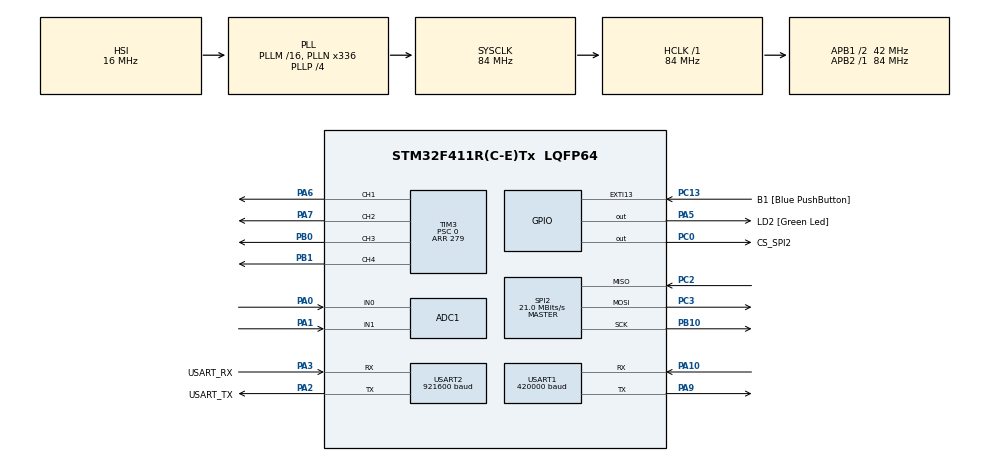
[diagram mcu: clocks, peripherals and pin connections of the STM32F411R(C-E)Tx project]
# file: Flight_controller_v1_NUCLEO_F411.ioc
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ADC1.Channel-10\#ChannelRegularConversion=ADC_CHANNEL_0
ADC1.Channel-12\#ChannelRegularConversion=ADC_CHANNEL_1
ADC1.ContinuousConvMode=ENABLE
ADC1.DMAContinuousRequests=ENABLE
ADC1.NbrOfConversion=2
ADC1.NbrOfConversionFlag=1
ADC1.Rank-10\#ChannelRegularConversion=1
ADC1.Rank-12\#ChannelRegularConversion=2
ADC1.SamplingTime-10\#ChannelRegularConversion=ADC_SAMPLETIME_480CYCLES
ADC1.SamplingTime-12\#ChannelRegularConversion=ADC_SAMPLETIME_480CYCLES
ADC1.master=1
Dma.ADC1.4.Direction=DMA_PERIPH_TO_MEMORY
Dma.ADC1.4.FIFOMode=DMA_FIFOMODE_DISABLE
Dma.ADC1.4.Instance=DMA2_Stream0
Dma.ADC1.4.MemDataAlignment=DMA_MDATAALIGN_HALFWORD
Dma.ADC1.4.MemInc=DMA_MINC_ENABLE
Dma.ADC1.4.Mode=DMA_CIRCULAR
Dma.ADC1.4.PeriphDataAlignment=DMA_PDATAALIGN_HALFWORD
Dma.ADC1.4.PeriphInc=DMA_PINC_DISABLE
Dma.ADC1.4.Priority=DMA_PRIORITY_LOW
Dma.Request0=USART2_RX
Dma.Request1=USART1_RX
Dma.Request2=SPI2_RX
Dma.Request3=TIM3_CH4/UP
Dma.Request4=ADC1
Dma.SPI2_RX.2.Direction=DMA_PERIPH_TO_MEMORY
Dma.SPI2_RX.2.FIFOMode=DMA_FIFOMODE_DISABLE
Dma.SPI2_RX.2.Instance=DMA1_Stream3
Dma.SPI2_RX.2.MemDataAlignment=DMA_MDATAALIGN_BYTE
Dma.SPI2_RX.2.MemInc=DMA_MINC_ENABLE
Dma.SPI2_RX.2.Mode=DMA_NORMAL
Dma.SPI2_RX.2.PeriphDataAlignment=DMA_PDATAALIGN_BYTE
Dma.SPI2_RX.2.PeriphInc=DMA_PINC_DISABLE
Dma.SPI2_RX.2.Priority=DMA_PRIORITY_LOW
Dma.TIM3_CH4/UP.3.Direction=DMA_MEMORY_TO_PERIPH
Dma.TIM3_CH4/UP.3.FIFOMode=DMA_FIFOMODE_DISABLE
Dma.TIM3_CH4/UP.3.Instance=DMA1_Stream2
Dma.TIM3_CH4/UP.3.MemDataAlignment=DMA_MDATAALIGN_WORD
Dma.TIM3_CH4/UP.3.MemInc=DMA_MINC_ENABLE
Dma.TIM3_CH4/UP.3.Mode=DMA_NORMAL
Dma.TIM3_CH4/UP.3.PeriphDataAlignment=DMA_PDATAALIGN_WORD
Dma.TIM3_CH4/UP.3.PeriphInc=DMA_PINC_DISABLE
Dma.TIM3_CH4/UP.3.Priority=DMA_PRIORITY_VERY_HIGH
Dma.USART1_RX.1.Direction=DMA_PERIPH_TO_MEMORY
Dma.USART1_RX.1.FIFOMode=DMA_FIFOMODE_DISABLE
Dma.USART1_RX.1.Instance=DMA2_Stream2
Dma.USART1_RX.1.MemDataAlignment=DMA_MDATAALIGN_BYTE
Dma.USART1_RX.1.MemInc=DMA_MINC_ENABLE
Dma.USART1_RX.1.Mode=DMA_CIRCULAR
Dma.USART1_RX.1.PeriphDataAlignment=DMA_PDATAALIGN_BYTE
Dma.USART1_RX.1.PeriphInc=DMA_PINC_DISABLE
Dma.USART1_RX.1.Priority=DMA_PRIORITY_LOW
Dma.USART2_RX.0.Direction=DMA_PERIPH_TO_MEMORY
Dma.USART2_RX.0.FIFOMode=DMA_FIFOMODE_DISABLE
Dma.USART2_RX.0.Instance=DMA1_Stream7
Dma.USART2_RX.0.MemDataAlignment=DMA_MDATAALIGN_BYTE
Dma.USART2_RX.0.MemInc=DMA_MINC_ENABLE
Dma.USART2_RX.0.Mode=DMA_CIRCULAR
Dma.USART2_RX.0.PeriphDataAlignment=DMA_PDATAALIGN_BYTE
Dma.USART2_RX.0.PeriphInc=DMA_PINC_DISABLE
Dma.USART2_RX.0.Priority=DMA_PRIORITY_LOW
Mcu.Family=STM32F4
Mcu.Name=STM32F411R(C-E)Tx
Mcu.Package=LQFP64
NVIC.DMA1_Stream2_IRQn=true\:0\:0\:false\:false\:true\:false\:true\:true
NVIC.DMA1_Stream3_IRQn=true\:0\:0\:false\:false\:true\:false\:true\:true
NVIC.DMA1_Stream7_IRQn=true\:0\:0\:false\:false\:true\:false\:true\:true
NVIC.DMA2_Stream0_IRQn=true\:0\:0\:false\:false\:true\:false\:true\:true
NVIC.DMA2_Stream2_IRQn=true\:0\:0\:false\:false\:true\:false\:true\:true
NVIC.EXTI15_10_IRQn=true\:0\:0\:false\:false\:true\:true\:true\:true
NVIC.PriorityGroup=NVIC_PRIORITYGROUP_0
NVIC.SPI2_IRQn=true\:0\:0\:false\:false\:true\:true\:true\:true
PA0-WKUP.Signal=ADCx_IN0
PA1.Signal=ADCx_IN1
PA10.Mode=Asynchronous
PA10.Signal=USART1_RX
PA13.GPIO_Label=TMS
PA13.Mode=Serial_Wire
PA13.Signal=SYS_JTMS-SWDIO
PA14.GPIO_Label=TCK
PA14.Mode=Serial_Wire
PA14.Signal=SYS_JTCK-SWCLK
PA2.GPIO_Label=USART_TX
PA2.Mode=Asynchronous
PA2.Signal=USART2_TX
PA3.GPIO_Label=USART_RX
PA3.Mode=Asynchronous
PA3.Signal=USART2_RX
PA5.GPIO_Label=LD2 [Green Led]
PA5.Signal=GPIO_Output
PA6.Signal=S_TIM3_CH1
PA7.Signal=S_TIM3_CH2
PA9.Mode=Asynchronous
PA9.Signal=USART1_TX
PB0.Signal=S_TIM3_CH3
PB1.Signal=S_TIM3_CH4
PB10.Mode=Full_Duplex_Master
PB10.Signal=SPI2_SCK
PB3.GPIO_Label=SWO
PB3.Signal=SYS_JTDO-SWO
PC0.GPIO_Label=CS_SPI2
PC0.Signal=GPIO_Output
PC13-ANTI_TAMP.GPIO_Label=B1 [Blue PushButton]
PC13-ANTI_TAMP.GPIO_ModeDefaultEXTI=GPIO_MODE_IT_FALLING
PC13-ANTI_TAMP.Signal=GPXTI13
PC14-OSC32_IN.Mode=LSE-External-Oscillator
PC14-OSC32_IN.Signal=RCC_OSC32_IN
PC15-OSC32_OUT.Mode=LSE-External-Oscillator
PC15-OSC32_OUT.Signal=RCC_OSC32_OUT
PC2.Mode=Full_Duplex_Master
PC2.Signal=SPI2_MISO
PC3.Mode=Full_Duplex_Master
PC3.Signal=SPI2_MOSI
PH0\ -\ OSC_IN.Mode=HSE-External-Clock-Source
PH0\ -\ OSC_IN.Signal=RCC_OSC_IN
PH1\ -\ OSC_OUT.Mode=HSE-External-Clock-Source
PH1\ -\ OSC_OUT.Signal=RCC_OSC_OUT
ProjectManager.HeapSize=0x200
ProjectManager.StackSize=0x400
ProjectManager.TargetToolchain=CMake
RCC.48MHZClocksFreq_Value=84000000
RCC.AHBFreq_Value=84000000
RCC.APB1CLKDivider=RCC_HCLK_DIV2
RCC.APB1Freq_Value=42000000
RCC.APB1TimFreq_Value=84000000
RCC.APB2Freq_Value=84000000
RCC.APB2TimFreq_Value=84000000
RCC.CortexFreq_Value=84000000
RCC.FLatency-AdvancedSettings=FLASH_LATENCY_2
RCC.HCLKFreq_Value=84000000
RCC.HSE_VALUE=8000000
RCC.HSI_VALUE=16000000
RCC.PLLN=336
RCC.PLLP=RCC_PLLP_DIV4
RCC.SYSCLKFreq_VALUE=84000000
RCC.SYSCLKSource=RCC_SYSCLKSOURCE_PLLCLK
RCC.VCOOutputFreq_Value=336000000
SH.ADCx_IN0.0=ADC1_IN0,IN0
SH.ADCx_IN1.0=ADC1_IN1,IN1
SH.S_TIM3_CH1.0=TIM3_CH1,PWM Generation1 CH1
SH.S_TIM3_CH2.0=TIM3_CH2,PWM Generation2 CH2
SH.S_TIM3_CH3.0=TIM3_CH3,PWM Generation3 CH3
SH.S_TIM3_CH4.0=TIM3_CH4,PWM Generation4 CH4
SPI2.BaudRatePrescaler=SPI_BAUDRATEPRESCALER_2
SPI2.CalculateBaudRate=21.0 MBits/s
SPI2.Direction=SPI_DIRECTION_2LINES
SPI2.Mode=SPI_MODE_MASTER
SPI2.VirtualType=VM_MASTER
TIM3.Channel-PWM\ Generation1\ CH1=TIM_CHANNEL_1
TIM3.Channel-PWM\ Generation2\ CH2=TIM_CHANNEL_2
TIM3.Channel-PWM\ Generation3\ CH3=TIM_CHANNEL_3
TIM3.Channel-PWM\ Generation4\ CH4=TIM_CHANNEL_4
TIM3.Period=279
TIM3.Prescaler=0
TIM3.Pulse-PWM\ Generation1\ CH1=0
USART1.BaudRate=420000
USART1.VirtualMode=VM_ASYNC
USART2.BaudRate=921600
USART2.VirtualMode=VM_ASYNC
VP_TIM3_VS_ClockSourceINT.Mode=Internal
board=NUCLEO-F411RE

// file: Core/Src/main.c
/* USER CODE BEGIN Header */
/**
  ******************************************************************************
  * @file           : main.c
  * @brief          : Main program body
  ******************************************************************************
  * @attention
  *
  * Copyright (c) 2026 STMicroelectronics.
  * All rights reserved.
  *
  * This software is licensed under terms that can be found in the LICENSE file
  * in the root directory of this software component.
  * If no LICENSE file comes with this software, it is provided AS-IS.
  *
  ******************************************************************************
  */
/* USER CODE END Header */
#include "main.h"

/* USER CODE BEGIN Includes */
#include <stdio.h>

#include "FlightController/flightcontroller_entry.h"
/* USER CODE END Includes */

ADC_HandleTypeDef hadc1;
DMA_HandleTypeDef hdma_adc1;

SPI_HandleTypeDef hspi2;
DMA_HandleTypeDef hdma_spi2_rx;

TIM_HandleTypeDef htim3;
DMA_HandleTypeDef hdma_tim3_ch4_up;

UART_HandleTypeDef huart1;
UART_HandleTypeDef huart2;
DMA_HandleTypeDef hdma_usart1_rx;
DMA_HandleTypeDef hdma_usart2_rx;

/* USER CODE BEGIN PV */
uint8_t m_uartVirtualRxDmaBuffer[256];
// uint8_t m_uartRCRxDmaBuffer[256];
uint16_t m_lastVirtualRxDmaPos = 0;
// uint16_t m_lastRCRxDmaPos = 0;
/* USER CODE END PV */

void SystemClock_Config(void);
static void MX_GPIO_Init(void);
static void MX_DMA_Init(void);
static void MX_USART2_UART_Init(void);
static void MX_USART1_UART_Init(void);
static void MX_TIM3_Init(void);
static void MX_SPI2_Init(void);
static void MX_ADC1_Init(void);
/* USER CODE BEGIN PFP */
void ProcessVirtualUartRxDma(void);
// void ProcessRCUartRxDma(void);
/* USER CODE END PFP */

/* USER CODE BEGIN 0 */
void HAL_UARTEx_RxEventCallback(UART_HandleTypeDef* huart, uint16_t size)
{
    // if (huart->Instance == USART1)
    // {
    //     HAL_UARTEx_ReceiveToIdle_DMA(&huart1, m_uartRCRxDmaBuffer, sizeof(m_uartRCRxDmaBuffer));
    // }

    if (huart->Instance == USART2)
    {
        HAL_UARTEx_ReceiveToIdle_DMA(&huart2, m_uartVirtualRxDmaBuffer, sizeof(m_uartVirtualRxDmaBuffer));
    }
}

void HAL_SPI_RxCpltCallback(SPI_HandleTypeDef *hspi)
{
    if (hspi2.Instance == SPI2)
    {

    }
}

void ProcessVirtualUartRxDma()
{
    const uint16_t currentPos =
        sizeof(m_uartVirtualRxDmaBuffer) - __HAL_DMA_GET_COUNTER(huart2.hdmarx);

    if (currentPos == m_lastVirtualRxDmaPos)
    {
        return;
    }

    if (currentPos > m_lastVirtualRxDmaPos)
    {
        for (uint16_t i = m_lastVirtualRxDmaPos; i < currentPos; ++i)
        {
            flight_controller_MavlinkParseByte(m_uartVirtualRxDmaBuffer[i]);
        }
    }
    else
    {
        for (uint16_t i = m_lastVirtualRxDmaPos; i < sizeof(m_uartVirtualRxDmaBuffer); ++i)
        {
            flight_controller_MavlinkParseByte(m_uartVirtualRxDmaBuffer[i]);
        }

        for (uint16_t i = 0; i < currentPos; ++i)
        {
            flight_controller_MavlinkParseByte(m_uartVirtualRxDmaBuffer[i]);
        }
    }

    m_lastVirtualRxDmaPos = currentPos;
}

// void ProcessRCUartRxDma()
// {
//     const uint16_t currentPos = sizeof(m_uartRCRxDmaBuffer) - __HAL_DMA_GET_COUNTER(huart1.hdmarx);
//
//     if (currentPos == m_lastRCRxDmaPos)
//     {
//         return;
//     }
//
//     if (currentPos > m_lastRCRxDmaPos)
//     {
//         for (uint16_t i = m_lastRCRxDmaPos; i < currentPos; ++i)
//         {
//             flight_controller_ParseRcCommandByte(m_uartRCRxDmaBuffer[i]);
//         }
//     }
//     else
//     {
//         for (uint16_t i = m_lastRCRxDmaPos; i < sizeof(m_uartRCRxDmaBuffer); ++i)
//         {
//             flight_controller_ParseRcCommandByte(m_uartRCRxDmaBuffer[i]);
//         }
//
//         for (uint16_t i = 0; i < currentPos; ++i)
//         {
//             flight_controller_ParseRcCommandByte(m_uartRCRxDmaBuffer[i]);
//         }
//     }
//
//     m_lastRCRxDmaPos = currentPos;
// }

typedef enum
{
    NOT_ACTIVE = 0,
    READY_TO_START = 1,
    LOW_MOTOR = 2,
    HALF_MOTOR = 3,
    HIGH_MOTOR = 4
} TEST_PWM_SEQUENCE_TEST_STATE;

TEST_PWM_SEQUENCE_TEST_STATE g_currentTestState = NOT_ACTIVE;
uint32_t g_sequenceLastTime = 0;
void ProcessPwmSequence_Test()
{
    switch (g_currentTestState)
    {
        case NOT_ACTIVE:
        {
            HAL_GPIO_WritePin(LD2_GPIO_Port, LD2_Pin, GPIO_PIN_RESET);
            break;
        }

        case READY_TO_START:
        {
            HAL_GPIO_WritePin(LD2_GPIO_Port, LD2_Pin, GPIO_PIN_SET);

            g_sequenceLastTime = HAL_GetTick();
            g_currentTestState = LOW_MOTOR;
            break;
        }

        case LOW_MOTOR:
        {
            __HAL_TIM_SET_COMPARE(&htim3, TIM_CHANNEL_1, 1000);

            const uint32_t currentTick = HAL_GetTick();
            if (currentTick - g_sequenceLastTime >= 1000)
            {
                g_sequenceLastTime = HAL_GetTick();
                g_currentTestState = HALF_MOTOR;
            }
            break;
        }

        case HALF_MOTOR:
        {
            __HAL_TIM_SET_COMPARE(&htim3, TIM_CHANNEL_1, 1500);
            const uint32_t currentTick = HAL_GetTick();
            if (currentTick - g_sequenceLastTime >= 1000)
            {
                g_sequenceLastTime = HAL_GetTick();
                g_currentTestState = HIGH_MOTOR;
            }
            break;
        }

        case HIGH_MOTOR:
        {
            __HAL_TIM_SET_COMPARE(&htim3, TIM_CHANNEL_1, 2000);
            const uint32_t currentTick = HAL_GetTick();
            if (currentTick - g_sequenceLastTime >= 1000)
            {
                g_sequenceLastTime = HAL_GetTick();
                g_currentTestState = NOT_ACTIVE;
            }
            break;
        }

        default:
            break;
    }
}

void HAL_GPIO_EXTI_Callback(uint16_t GPIO_Pin)
{
    if (GPIO_Pin == B1_Pin)
    {
        if (g_currentTestState == NOT_ACTIVE)
        {
            g_currentTestState = READY_TO_START;
        }
    }
}
/* USER CODE END 0 */

int main(void)
{

  /* MCU Configuration--------------------------------------------------------*/

  /* Reset of all peripherals, Initializes the Flash interface and the Systick. */
  HAL_Init();

  /* Configure the system clock */
  SystemClock_Config();

  /* Initialize all configured peripherals */
  MX_GPIO_Init();
  MX_DMA_Init();
  MX_USART2_UART_Init();
  MX_USART1_UART_Init();
  MX_TIM3_Init();
  MX_SPI2_Init();
  MX_ADC1_Init();
  /* USER CODE BEGIN 2 */
  flight_controller_Create(&huart1, &huart2, &hspi2, &htim3, &hadc1);
  flight_controller_Init();

  uint32_t lastHeartbeatMs = 0;
  // HAL_UARTEx_ReceiveToIdle_DMA(&huart1, m_uartRCRxDmaBuffer, sizeof(m_uartRCRxDmaBuffer));
  HAL_UARTEx_ReceiveToIdle_DMA(&huart2, m_uartVirtualRxDmaBuffer, sizeof(m_uartVirtualRxDmaBuffer));

  /* USER CODE END 2 */
  /* Infinite loop */
  /* USER CODE BEGIN WHILE */
  while (1)
  {
    ProcessPwmSequence_Test();

    ProcessVirtualUartRxDma();
    // ProcessRCUartRxDma();

    uint32_t now = HAL_GetTick();
    if (now - lastHeartbeatMs >= 1000)
    {
      lastHeartbeatMs = now;
      flight_controller_Heartbeat();
    }

    flight_controller_Update();
    /* USER CODE END WHILE */

  }
}

void SystemClock_Config(void)
{
  RCC_OscInitTypeDef RCC_OscInitStruct = {0};
  RCC_ClkInitTypeDef RCC_ClkInitStruct = {0};

  /** Configure the main internal regulator output voltage
  */
  __HAL_RCC_PWR_CLK_ENABLE();
  __HAL_PWR_VOLTAGESCALING_CONFIG(PWR_REGULATOR_VOLTAGE_SCALE1);

  /** Initializes the RCC Oscillators according to the specified parameters
  * in the RCC_OscInitTypeDef structure.
  */
  RCC_OscInitStruct.OscillatorType = RCC_OSCILLATORTYPE_HSI;
  RCC_OscInitStruct.HSIState = RCC_HSI_ON;
  RCC_OscInitStruct.HSICalibrationValue = RCC_HSICALIBRATION_DEFAULT;
  RCC_OscInitStruct.PLL.PLLState = RCC_PLL_ON;
  RCC_OscInitStruct.PLL.PLLSource = RCC_PLLSOURCE_HSI;
  RCC_OscInitStruct.PLL.PLLM = 16;
  RCC_OscInitStruct.PLL.PLLN = 336;
  RCC_OscInitStruct.PLL.PLLP = RCC_PLLP_DIV4;
  RCC_OscInitStruct.PLL.PLLQ = 4;
  if (HAL_RCC_OscConfig(&RCC_OscInitStruct) != HAL_OK)
  {
    Error_Handler();
  }

  /** Initializes the CPU, AHB and APB buses clocks
  */
  RCC_ClkInitStruct.ClockType = RCC_CLOCKTYPE_HCLK|RCC_CLOCKTYPE_SYSCLK
                              |RCC_CLOCKTYPE_PCLK1|RCC_CLOCKTYPE_PCLK2;
  RCC_ClkInitStruct.SYSCLKSource = RCC_SYSCLKSOURCE_PLLCLK;
  RCC_ClkInitStruct.AHBCLKDivider = RCC_SYSCLK_DIV1;
  RCC_ClkInitStruct.APB1CLKDivider = RCC_HCLK_DIV2;
  RCC_ClkInitStruct.APB2CLKDivider = RCC_HCLK_DIV1;

  if (HAL_RCC_ClockConfig(&RCC_ClkInitStruct, FLASH_LATENCY_2) != HAL_OK)
  {
    Error_Handler();
  }
}

static void MX_ADC1_Init(void)
{

  ADC_ChannelConfTypeDef sConfig = {0};

  /** Configure the global features of the ADC (Clock, Resolution, Data Alignment and number of conversion)
  */
  hadc1.Instance = ADC1;
  hadc1.Init.ClockPrescaler = ADC_CLOCK_SYNC_PCLK_DIV4;
  hadc1.Init.Resolution = ADC_RESOLUTION_12B;
  hadc1.Init.ScanConvMode = ENABLE;
  hadc1.Init.ContinuousConvMode = ENABLE;
  hadc1.Init.DiscontinuousConvMode = DISABLE;
  hadc1.Init.ExternalTrigConvEdge = ADC_EXTERNALTRIGCONVEDGE_NONE;
  hadc1.Init.ExternalTrigConv = ADC_SOFTWARE_START;
  hadc1.Init.DataAlign = ADC_DATAALIGN_RIGHT;
  hadc1.Init.NbrOfConversion = 2;
  hadc1.Init.DMAContinuousRequests = ENABLE;
  hadc1.Init.EOCSelection = ADC_EOC_SINGLE_CONV;
  if (HAL_ADC_Init(&hadc1) != HAL_OK)
  {
    Error_Handler();
  }

  /** Configure for the selected ADC regular channel its corresponding rank in the sequencer and its sample time.
  */
  sConfig.Channel = ADC_CHANNEL_0;
  sConfig.Rank = 1;
  sConfig.SamplingTime = ADC_SAMPLETIME_480CYCLES;
  if (HAL_ADC_ConfigChannel(&hadc1, &sConfig) != HAL_OK)
  {
    Error_Handler();
  }

  /** Configure for the selected ADC regular channel its corresponding rank in the sequencer and its sample time.
  */
  sConfig.Channel = ADC_CHANNEL_1;
  sConfig.Rank = 2;
  if (HAL_ADC_ConfigChannel(&hadc1, &sConfig) != HAL_OK)
  {
    Error_Handler();
  }

}

static void MX_SPI2_Init(void)
{

  /* SPI2 parameter configuration*/
  hspi2.Instance = SPI2;
  hspi2.Init.Mode = SPI_MODE_MASTER;
  hspi2.Init.Direction = SPI_DIRECTION_2LINES;
  hspi2.Init.DataSize = SPI_DATASIZE_8BIT;
  hspi2.Init.CLKPolarity = SPI_POLARITY_LOW;
  hspi2.Init.CLKPhase = SPI_PHASE_1EDGE;
  hspi2.Init.NSS = SPI_NSS_SOFT;
  hspi2.Init.BaudRatePrescaler = SPI_BAUDRATEPRESCALER_2;
  hspi2.Init.FirstBit = SPI_FIRSTBIT_MSB;
  hspi2.Init.TIMode = SPI_TIMODE_DISABLE;
  hspi2.Init.CRCCalculation = SPI_CRCCALCULATION_DISABLE;
  hspi2.Init.CRCPolynomial = 10;
  if (HAL_SPI_Init(&hspi2) != HAL_OK)
  {
    Error_Handler();
  }

}

static void MX_TIM3_Init(void)
{

  TIM_ClockConfigTypeDef sClockSourceConfig = {0};
  TIM_MasterConfigTypeDef sMasterConfig = {0};
  TIM_OC_InitTypeDef sConfigOC = {0};

  htim3.Instance = TIM3;
  htim3.Init.Prescaler = 0;
  htim3.Init.CounterMode = TIM_COUNTERMODE_UP;
  htim3.Init.Period = 279;
  htim3.Init.ClockDivision = TIM_CLOCKDIVISION_DIV1;
  htim3.Init.AutoReloadPreload = TIM_AUTORELOAD_PRELOAD_DISABLE;
  if (HAL_TIM_Base_Init(&htim3) != HAL_OK)
  {
    Error_Handler();
  }
  sClockSourceConfig.ClockSource = TIM_CLOCKSOURCE_INTERNAL;
  if (HAL_TIM_ConfigClockSource(&htim3, &sClockSourceConfig) != HAL_OK)
  {
    Error_Handler();
  }
  if (HAL_TIM_PWM_Init(&htim3) != HAL_OK)
  {
    Error_Handler();
  }
  sMasterConfig.MasterOutputTrigger = TIM_TRGO_RESET;
  sMasterConfig.MasterSlaveMode = TIM_MASTERSLAVEMODE_DISABLE;
  if (HAL_TIMEx_MasterConfigSynchronization(&htim3, &sMasterConfig) != HAL_OK)
  {
    Error_Handler();
  }
  sConfigOC.OCMode = TIM_OCMODE_PWM1;
  sConfigOC.Pulse = 0;
  sConfigOC.OCPolarity = TIM_OCPOLARITY_HIGH;
  sConfigOC.OCFastMode = TIM_OCFAST_DISABLE;
  if (HAL_TIM_PWM_ConfigChannel(&htim3, &sConfigOC, TIM_CHANNEL_1) != HAL_OK)
  {
    Error_Handler();
  }
  if (HAL_TIM_PWM_ConfigChannel(&htim3, &sConfigOC, TIM_CHANNEL_2) != HAL_OK)
  {
    Error_Handler();
  }
  if (HAL_TIM_PWM_ConfigChannel(&htim3, &sConfigOC, TIM_CHANNEL_3) != HAL_OK)
  {
    Error_Handler();
  }
  if (HAL_TIM_PWM_ConfigChannel(&htim3, &sConfigOC, TIM_CHANNEL_4) != HAL_OK)
  {
    Error_Handler();
  }
  HAL_TIM_MspPostInit(&htim3);

}

static void MX_USART1_UART_Init(void)
{

  huart1.Instance = USART1;
  huart1.Init.BaudRate = 420000;
  huart1.Init.WordLength = UART_WORDLENGTH_8B;
  huart1.Init.StopBits = UART_STOPBITS_1;
  huart1.Init.Parity = UART_PARITY_NONE;
  huart1.Init.Mode = UART_MODE_TX_RX;
  huart1.Init.HwFlowCtl = UART_HWCONTROL_NONE;
  huart1.Init.OverSampling = UART_OVERSAMPLING_16;
  if (HAL_UART_Init(&huart1) != HAL_OK)
  {
    Error_Handler();
  }

}

static void MX_USART2_UART_Init(void)
{

  huart2.Instance = USART2;
  huart2.Init.BaudRate = 921600;
  huart2.Init.WordLength = UART_WORDLENGTH_8B;
  huart2.Init.StopBits = UART_STOPBITS_1;
  huart2.Init.Parity = UART_PARITY_NONE;
  huart2.Init.Mode = UART_MODE_TX_RX;
  huart2.Init.HwFlowCtl = UART_HWCONTROL_NONE;
  huart2.Init.OverSampling = UART_OVERSAMPLING_16;
  if (HAL_UART_Init(&huart2) != HAL_OK)
  {
    Error_Handler();
  }

}

static void MX_DMA_Init(void)
{

  /* DMA controller clock enable */
  __HAL_RCC_DMA1_CLK_ENABLE();
  __HAL_RCC_DMA2_CLK_ENABLE();

  /* DMA interrupt init */
  /* DMA1_Stream2_IRQn interrupt configuration */
  HAL_NVIC_SetPriority(DMA1_Stream2_IRQn, 0, 0);
  HAL_NVIC_EnableIRQ(DMA1_Stream2_IRQn);
  /* DMA1_Stream3_IRQn interrupt configuration */
  HAL_NVIC_SetPriority(DMA1_Stream3_IRQn, 0, 0);
  HAL_NVIC_EnableIRQ(DMA1_Stream3_IRQn);
  /* DMA1_Stream7_IRQn interrupt configuration */
  HAL_NVIC_SetPriority(DMA1_Stream7_IRQn, 0, 0);
  HAL_NVIC_EnableIRQ(DMA1_Stream7_IRQn);
  /* DMA2_Stream0_IRQn interrupt configuration */
  HAL_NVIC_SetPriority(DMA2_Stream0_IRQn, 0, 0);
  HAL_NVIC_EnableIRQ(DMA2_Stream0_IRQn);
  /* DMA2_Stream2_IRQn interrupt configuration */
  HAL_NVIC_SetPriority(DMA2_Stream2_IRQn, 0, 0);
  HAL_NVIC_EnableIRQ(DMA2_Stream2_IRQn);

}

static void MX_GPIO_Init(void)
{
  GPIO_InitTypeDef GPIO_InitStruct = {0};

  /* GPIO Ports Clock Enable */
  __HAL_RCC_GPIOC_CLK_ENABLE();
  __HAL_RCC_GPIOH_CLK_ENABLE();
  __HAL_RCC_GPIOA_CLK_ENABLE();
  __HAL_RCC_GPIOB_CLK_ENABLE();

  /*Configure GPIO pin Output Level */
  HAL_GPIO_WritePin(CS_SPI2_GPIO_Port, CS_SPI2_Pin, GPIO_PIN_RESET);

  /*Configure GPIO pin Output Level */
  HAL_GPIO_WritePin(LD2_GPIO_Port, LD2_Pin, GPIO_PIN_RESET);

  /*Configure GPIO pin : B1_Pin */
  GPIO_InitStruct.Pin = B1_Pin;
  GPIO_InitStruct.Mode = GPIO_MODE_IT_FALLING;
  GPIO_InitStruct.Pull = GPIO_NOPULL;
  HAL_GPIO_Init(B1_GPIO_Port, &GPIO_InitStruct);

  /*Configure GPIO pin : CS_SPI2_Pin */
  GPIO_InitStruct.Pin = CS_SPI2_Pin;
  GPIO_InitStruct.Mode = GPIO_MODE_OUTPUT_PP;
  GPIO_InitStruct.Pull = GPIO_NOPULL;
  GPIO_InitStruct.Speed = GPIO_SPEED_FREQ_LOW;
  HAL_GPIO_Init(CS_SPI2_GPIO_Port, &GPIO_InitStruct);

  /*Configure GPIO pin : LD2_Pin */
  GPIO_InitStruct.Pin = LD2_Pin;
  GPIO_InitStruct.Mode = GPIO_MODE_OUTPUT_PP;
  GPIO_InitStruct.Pull = GPIO_NOPULL;
  GPIO_InitStruct.Speed = GPIO_SPEED_FREQ_LOW;
  HAL_GPIO_Init(LD2_GPIO_Port, &GPIO_InitStruct);

  /* EXTI interrupt init*/
  HAL_NVIC_SetPriority(EXTI15_10_IRQn, 0, 0);
  HAL_NVIC_EnableIRQ(EXTI15_10_IRQn);

}

void Error_Handler(void)
{
  __disable_irq();
  while (1)
  {
  }
}
